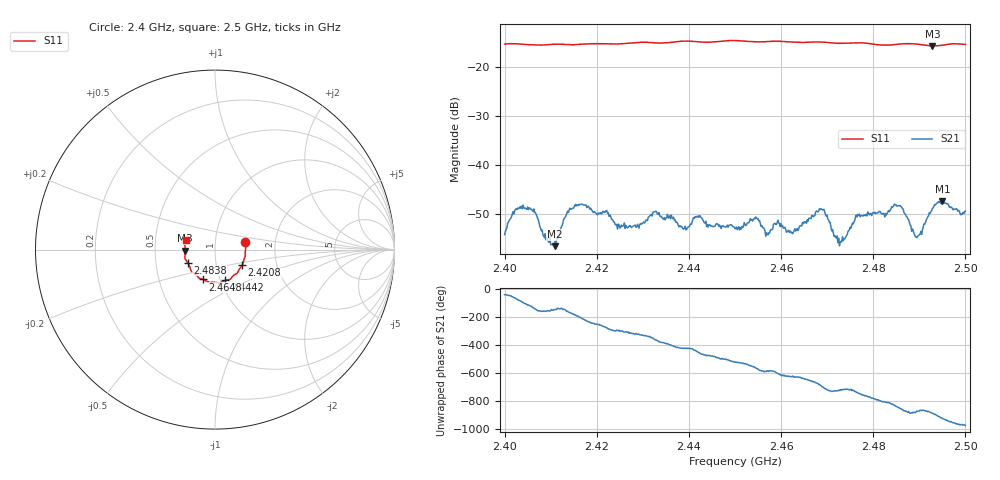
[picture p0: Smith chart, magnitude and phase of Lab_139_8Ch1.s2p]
# Hz S RI R 50
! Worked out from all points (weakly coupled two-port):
!   601 points, 2.4 GHz to 2.5 GHz, reference 50 ohm
!   highest |S21| = -47.30 dB at 2.495 GHz (marker M1); lowest = -56.6 dB at 2.4108 GHz (marker M2)
!   lowest |S11| = -15.6 dB at 2.4928 GHz (marker M3), VSWR 1.40, Z = 35.8 - j0.375 ohm
!   |S11| at or under -10 dB: start of sweep to end of sweep
!   S12 and S22 are empty: the file has one direction only
!   S11 on the Smith chart (normalised r, x): 2.4 GHz: 1.40, +0.12; 2.4208 GHz: 1.33, -0.24; 2.4442 GHz: 1.05, -0.37; 2.4648 GHz: 0.83, -0.28; 2.4838 GHz: 0.73, -0.11; 2.5 GHz: 0.72, +0.08
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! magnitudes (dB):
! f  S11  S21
! 2.4 GHz  -15.3  -54.2
! 2.4023 GHz  -15.2  -49.1
! 2.4055 GHz  -15.4  -48.8
! 2.4108 GHz  -15.3  -56.6
! 2.4167 GHz  -15.3  -47.9
! 2.4208 GHz  -15.2  -49.7
! 2.4267 GHz  -15.1  -52.8
! 2.4333 GHz  -15.0  -50.1
! 2.4442 GHz  -14.9  -52.7
! 2.45 GHz  -14.5  -53.0
! 2.4648 GHz  -14.9  -52.0
! 2.4667 GHz  -14.8  -50.3
! 2.469 GHz  -14.8  -49.2
! 2.4728 GHz  -15.1  -55.7
! 2.4767 GHz  -15.0  -50.1
! 2.4833 GHz  -15.5  -49.3
! 2.4838 GHz  -15.4  -49.0
! 2.486 GHz  -15.2  -48.4
! 2.4895 GHz  -15.2  -54.8
! 2.4928 GHz  -15.6  -48.8
! 2.495 GHz  -15.5  -47.3
! 2.5 GHz  -15.3  -49.4
